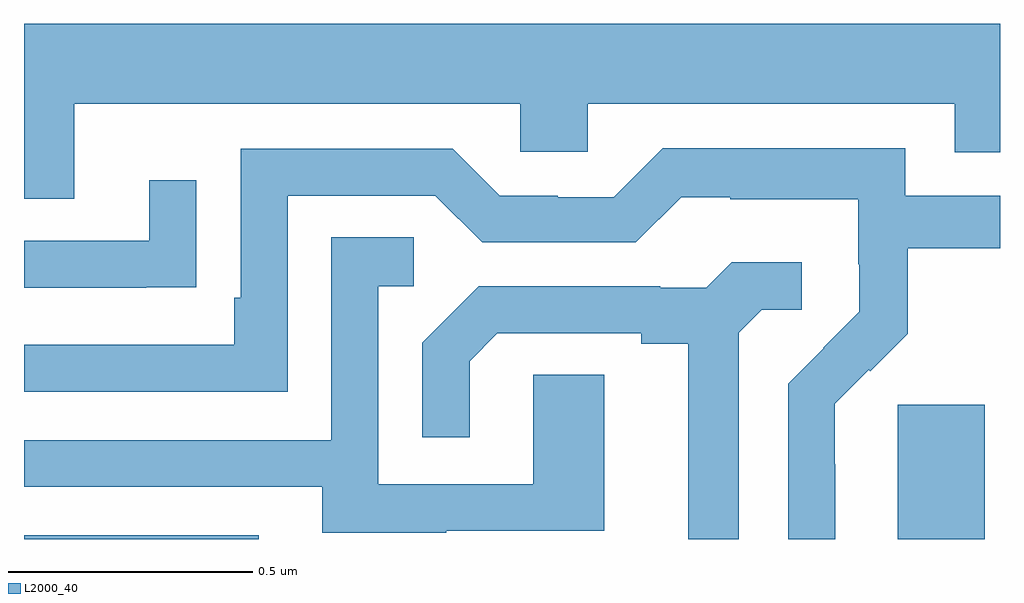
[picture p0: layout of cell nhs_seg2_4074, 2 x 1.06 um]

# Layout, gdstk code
import gdstk
lib = gdstk.Library(unit=1e-6, precision=1e-09)
def R(c, l, rs):  # rectangles x0, y0, x1, y1
    for r in rs: c.add(gdstk.rectangle(r[:2], r[2:], *l))
def P(c, l, *ps):  # polygons
    for p in ps: c.add(gdstk.Polygon(p, *l))
L2000_40 = (2000, 40)

nhs_seg2_4074 = lib.new_cell('nhs_seg2_4074')
R(nhs_seg2_4074, L2000_40, [(162,590.8,162.481,590.808), (163.79,590.8,163.969,591.075)])
P(nhs_seg2_4074, L2000_40, [(162.103,591.692),(163.017,591.692),(163.017,591.594),(163.155,591.594),(163.155,591.692),(163.907,591.692),(163.907,591.593),(164,591.593),(164,591.856),(162,591.856),(162,591.498),(162.103,591.498)],
  [(163.662,590.954),(163.661,590.954),(163.661,591.077),(163.731,591.147),(163.734,591.144),(163.811,591.221),(163.811,591.396),(164,591.396),(164,591.504),(163.806,591.504),(163.806,591.601),(163.309,591.601),(163.209,591.501),(163.094,591.501),(163.094,591.504),(162.975,591.504),(162.879,591.6),(162.444,591.6),(162.444,591.295),(162.431,591.295),(162.431,591.198),(162,591.198),(162,591.102),(162.54,591.102),(162.54,591.504),(162.843,591.504),(162.939,591.408),(163.254,591.408),(163.347,591.501),(163.447,591.501),(163.447,591.497),(163.71,591.497),(163.71,591.363),(163.712,591.363),(163.712,591.266),(163.638,591.192),(163.639,591.191),(163.566,591.118),(163.566,590.8),(163.662,590.8)],
  [(162.251,591.316),(162.353,591.316),(162.353,591.535),(162.257,591.535),(162.257,591.411),(162,591.411),(162,591.315),(162.251,591.315)],
  [(162.865,590.817),(163.189,590.817),(163.189,591.137),(163.044,591.137),(163.044,590.913),(162.726,590.913),(162.726,591.318),(162.799,591.318),(162.799,591.419),(162.63,591.419),(162.63,591.003),(162,591.003),(162,590.907),(162.611,590.907),(162.611,590.813),(162.865,590.813)],
  [(163.465,591.223),(163.512,591.27),(163.594,591.27),(163.594,591.367),(163.45,591.367),(163.398,591.315),(163.304,591.315),(163.304,591.318),(162.932,591.318),(162.816,591.202),(162.816,591.009),(162.913,591.009),(162.913,591.165),(162.97,591.222),(163.265,591.222),(163.265,591.2),(163.361,591.2),(163.361,590.8),(163.465,590.8)])

lib.write_gds('nhs_seg2_4074.gds')
